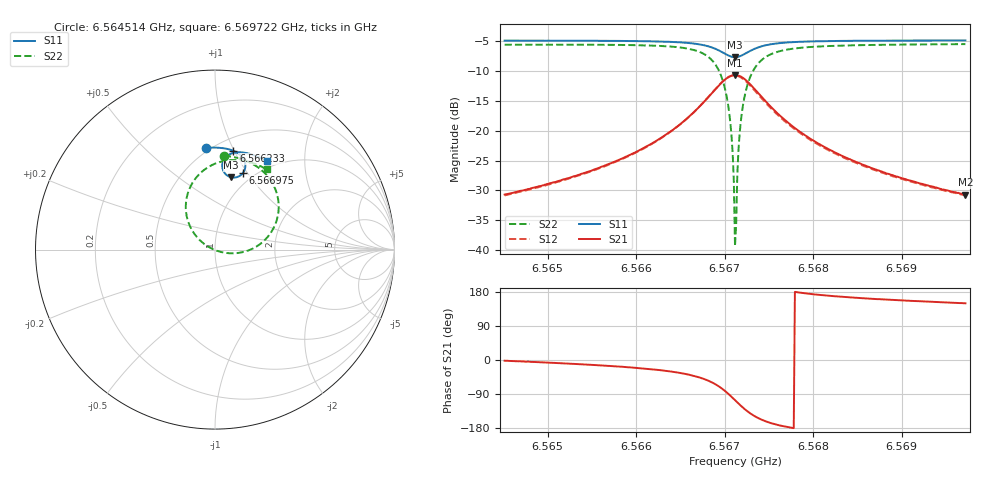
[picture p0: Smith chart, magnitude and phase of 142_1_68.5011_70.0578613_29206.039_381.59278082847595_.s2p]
#  HZ  S  RI  R  50.00
! Rohde & Schwarz Vector Network Analyzer
! Rohde-Schwarz,ZNB20-2Port,1311601062101988,3.16
! Created: UTC 3/20/2024, 5:10:03 PM
! freq[Hz]  re:S11  im:S11  re:S21  im:S21  re:S12  im:S12  re:S22  im:S22
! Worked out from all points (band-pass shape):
!   401 points, 6.564514 GHz to 6.569722 GHz, reference 50 ohm
!   highest |S21| = -10.66 dB at 6.567118 GHz (marker M1); lowest = -30.7 dB at 6.569722 GHz (marker M2)
!   |S21| within 3 dB of the highest: 6.566859 GHz to 6.567379 GHz (520.4 kHz wide, 0.00792 % of centre)
!   lowest |S11| = -7.7 dB at 6.567118 GHz (marker M3), VSWR 2.41, Z = 41.9 + j40.7 ohm
!   |S11| at or under -10 dB: nowhere
!   |S22| runs from -39.3 to -5.5 dB; largest |S21 - S12| = 0.014
!   S11 on the Smith chart (normalised r, x): 6.564514 GHz: 0.47, +0.80; 6.566233 GHz: 0.62, +0.99; 6.566975 GHz: 0.89, +0.95; 6.569722 GHz: 0.90, +1.32
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6.5645139e9  -0.0509 0.5668  0.0292 -0.000973  0.0287 -0.00143  0.0493 0.5234
6.5653862e9  0.0213 0.5675  0.0428 -0.00858  0.0421 -0.00917  0.1338 0.5083
6.5662326e9  0.1021 0.5508  0.0746 -0.036  0.0734 -0.0368  0.2497 0.4508
6.5662586e9  0.1048 0.5496  0.0761 -0.0379  0.075 -0.0388  0.2545 0.447
6.5665581e9  0.1402 0.5281  0.0989 -0.0739  0.0974 -0.0755  0.3165 0.3759
6.5667664e9  0.1646 0.494  0.112 -0.1335  0.1094 -0.1361  0.354 0.2613
6.5668836e9  0.169 0.4602  0.1011 -0.1926  0.0961 -0.1962  0.3388 0.1484
6.5669747e9  0.156 0.4272  0.0615 -0.249  0.0528 -0.2521  0.2665 0.0433
6.5670528e9  0.1258 0.4051  -0.00724 -0.2839  -0.0193 -0.2833  0.14 -0.0171
6.5670789e9  0.1122 0.4019  -0.0361 -0.2874  -0.0487 -0.2847  0.0878 -0.0208
6.5671049e9  0.0978 0.4018  -0.0658 -0.2851  -0.0784 -0.28  0.0348 -0.0136
6.5671179e9  0.0908 0.4029  -0.0806 -0.2816  -0.093 -0.2757  0.00902 -0.00594
6.567131e9  0.0838 0.4048  -0.0948 -0.2769  -0.1068 -0.2696  -0.0156 0.00431
6.567144e9  0.0772 0.4075  -0.1088 -0.2706  -0.1199 -0.2623  -0.0391 0.0171
6.56717e9  0.0652 0.415  -0.1336 -0.2546  -0.1432 -0.2446  -0.0805 0.0486
6.5671961e9  0.0554 0.4246  -0.154 -0.2348  -0.1619 -0.2236  -0.1136 0.086
6.5672481e9  0.0432 0.447  -0.1808 -0.1903  -0.1848 -0.1784  -0.1531 0.1678
6.5673132e9  0.0408 0.4743  -0.1909 -0.1369  -0.1911 -0.1261  -0.1616 0.262
6.5675606e9  0.0793 0.5297  -0.1462 -0.0284  -0.1429 -0.024  -0.0593 0.4449
6.5679903e9  0.1426 0.5423  -0.0835 0.00907  -0.0813 0.0104  0.0805 0.498
6.5688626e9  0.2255 0.5226  -0.0405 0.0155  -0.0395 0.0159  0.2113 0.4813
6.569722e9  0.2897 0.4918  -0.0252 0.0147  -0.0247 0.0149  0.2888 0.4467
